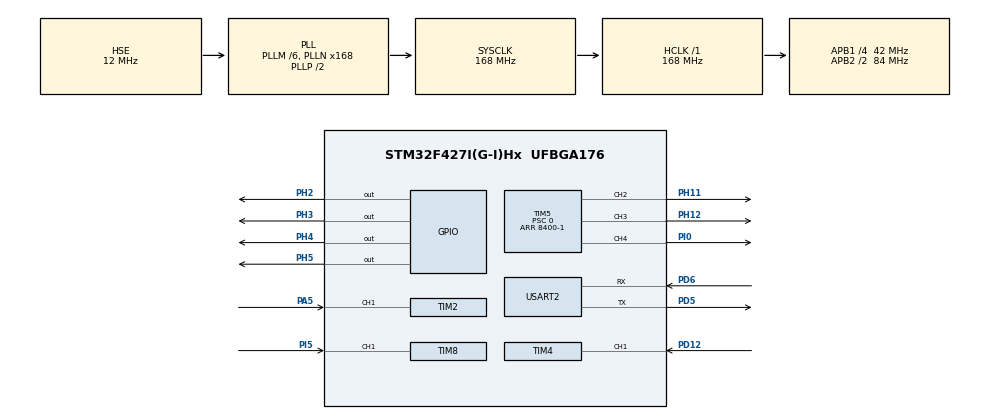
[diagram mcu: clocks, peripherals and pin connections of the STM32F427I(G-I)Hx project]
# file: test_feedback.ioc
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Dma.Request0=USART2_RX
Dma.Request1=USART2_TX
Dma.USART2_RX.0.Direction=DMA_PERIPH_TO_MEMORY
Dma.USART2_RX.0.FIFOMode=DMA_FIFOMODE_DISABLE
Dma.USART2_RX.0.Instance=DMA1_Stream5
Dma.USART2_RX.0.MemDataAlignment=DMA_MDATAALIGN_BYTE
Dma.USART2_RX.0.MemInc=DMA_MINC_ENABLE
Dma.USART2_RX.0.Mode=DMA_NORMAL
Dma.USART2_RX.0.PeriphDataAlignment=DMA_PDATAALIGN_BYTE
Dma.USART2_RX.0.PeriphInc=DMA_PINC_DISABLE
Dma.USART2_RX.0.Priority=DMA_PRIORITY_LOW
Dma.USART2_TX.1.Direction=DMA_MEMORY_TO_PERIPH
Dma.USART2_TX.1.FIFOMode=DMA_FIFOMODE_DISABLE
Dma.USART2_TX.1.Instance=DMA1_Stream6
Dma.USART2_TX.1.MemDataAlignment=DMA_MDATAALIGN_BYTE
Dma.USART2_TX.1.MemInc=DMA_MINC_ENABLE
Dma.USART2_TX.1.Mode=DMA_NORMAL
Dma.USART2_TX.1.PeriphDataAlignment=DMA_PDATAALIGN_BYTE
Dma.USART2_TX.1.PeriphInc=DMA_PINC_DISABLE
Dma.USART2_TX.1.Priority=DMA_PRIORITY_LOW
Mcu.Family=STM32F4
Mcu.Name=STM32F427I(G-I)Hx
Mcu.Package=UFBGA176
NVIC.DMA1_Stream5_IRQn=true\:0\:0\:false\:false\:true\:false\:true\:true
NVIC.DMA1_Stream6_IRQn=true\:0\:0\:false\:false\:true\:false\:true\:true
NVIC.PriorityGroup=NVIC_PRIORITYGROUP_4
NVIC.TIM2_IRQn=true\:0\:0\:false\:false\:true\:true\:true\:true
NVIC.TIM4_IRQn=true\:0\:0\:false\:false\:true\:true\:true\:true
NVIC.TIM8_BRK_TIM12_IRQn=true\:0\:0\:false\:false\:true\:true\:true\:true
NVIC.TIM8_CC_IRQn=true\:0\:0\:false\:false\:true\:true\:true\:true
NVIC.TIM8_TRG_COM_TIM14_IRQn=true\:0\:0\:false\:false\:true\:true\:true\:true
NVIC.TIM8_UP_TIM13_IRQn=true\:0\:0\:false\:false\:true\:true\:true\:true
NVIC.USART2_IRQn=true\:0\:0\:false\:false\:true\:true\:true\:true
PA13.Mode=Serial_Wire
PA13.Signal=SYS_JTMS-SWDIO
PA14.Mode=Serial_Wire
PA14.Signal=SYS_JTCK-SWCLK
PA5.Signal=S_TIM2_CH1_ETR
PB0.Signal=S_TIM3_CH3
PB1.Signal=S_TIM3_CH4
PD12.Signal=S_TIM4_CH1
PD5.Mode=Asynchronous
PD5.Signal=USART2_TX
PD6.Mode=Asynchronous
PD6.Signal=USART2_RX
PH0/OSC_IN.Mode=HSE-External-Oscillator
PH0/OSC_IN.Signal=RCC_OSC_IN
PH1/OSC_OUT.Mode=HSE-External-Oscillator
PH1/OSC_OUT.Signal=RCC_OSC_OUT
PH11.Signal=S_TIM5_CH2
PH12.Signal=S_TIM5_CH3
PH2.GPIO_PuPd=GPIO_PULLDOWN
PH2.Signal=GPIO_Output
PH3.GPIO_PuPd=GPIO_PULLDOWN
PH3.Signal=GPIO_Output
PH4.GPIO_PuPd=GPIO_PULLDOWN
PH4.Signal=GPIO_Output
PH5.GPIO_PuPd=GPIO_PULLDOWN
PH5.Signal=GPIO_Output
PI0.Signal=S_TIM5_CH4
PI5.Signal=S_TIM8_CH1
ProjectManager.HeapSize=0x200
ProjectManager.StackSize=0x400
ProjectManager.TargetToolchain=MDK-ARM V5.32
RCC.48MHZClocksFreq_Value=84000000
RCC.AHBFreq_Value=168000000
RCC.APB1CLKDivider=RCC_HCLK_DIV4
RCC.APB1Freq_Value=42000000
RCC.APB1TimFreq_Value=84000000
RCC.APB2CLKDivider=RCC_HCLK_DIV2
RCC.APB2Freq_Value=84000000
RCC.APB2TimFreq_Value=168000000
RCC.CortexFreq_Value=168000000
RCC.HCLKFreq_Value=168000000
RCC.HSE_VALUE=12000000
RCC.HSI_VALUE=16000000
RCC.LSE_VALUE=32768
RCC.PLLM=6
RCC.PLLN=168
RCC.PLLSourceVirtual=RCC_PLLSOURCE_HSE
RCC.SYSCLKFreq_VALUE=168000000
RCC.SYSCLKSource=RCC_SYSCLKSOURCE_PLLCLK
RCC.VCOOutputFreq_Value=336000000
SH.S_TIM2_CH1_ETR.0=TIM2_CH1,TriggerSource_TI1FP1
SH.S_TIM2_CH1_ETR.1=TIM2_CH1,Input_Capture1_from_TI1
SH.S_TIM3_CH3.0=TIM3_CH3
SH.S_TIM3_CH4.0=TIM3_CH4
SH.S_TIM4_CH1.0=TIM4_CH1,TriggerSource_TI1FP1
SH.S_TIM4_CH1.1=TIM4_CH1,Input_Capture1_from_TI1
SH.S_TIM5_CH2.0=TIM5_CH2,PWM Generation2 CH2
SH.S_TIM5_CH3.0=TIM5_CH3,PWM Generation3 CH3
SH.S_TIM5_CH4.0=TIM5_CH4,PWM Generation4 CH4
SH.S_TIM8_CH1.0=TIM8_CH1,TriggerSource_TI1FP1
SH.S_TIM8_CH1.1=TIM8_CH1,Input_Capture1_from_TI1
TIM2.Channel-Input_Capture1_from_TI1=TIM_CHANNEL_1
TIM2.Period=65535
TIM2.Prescaler=83
TIM4.Channel-Input_Capture1_from_TI1=TIM_CHANNEL_1
TIM4.Prescaler=83
TIM5.Channel-PWM\ Generation2\ CH2=TIM_CHANNEL_2
TIM5.Channel-PWM\ Generation3\ CH3=TIM_CHANNEL_3
TIM5.Channel-PWM\ Generation4\ CH4=TIM_CHANNEL_4
TIM5.Period=8400-1
TIM5.Prescaler=0
TIM8.Channel-Input_Capture1_from_TI1=TIM_CHANNEL_1
TIM8.Prescaler=167
USART2.VirtualMode=VM_ASYNC
VP_TIM2_VS_ClockSourceINT.Mode=Internal
VP_TIM2_VS_ControllerModeReset.Mode=Reset Mode
VP_TIM4_VS_ControllerModeReset.Mode=Reset Mode
VP_TIM5_VS_ClockSourceINT.Mode=Internal
VP_TIM8_VS_ClockSourceINT.Mode=Internal
VP_TIM8_VS_ControllerModeReset.Mode=Reset Mode
board=custom

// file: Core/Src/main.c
/* USER CODE BEGIN Header */
/**
 ******************************************************************************
 * @file           : main.c
 * @brief          : Main program body
 ******************************************************************************
 * @attention
 *
 * Copyright (c) 2023 STMicroelectronics.
 * All rights reserved.
 *
 * This software is licensed under terms that can be found in the LICENSE file
 * in the root directory of this software component.
 * If no LICENSE file comes with this software, it is provided AS-IS.
 *
 ******************************************************************************
 */
/* USER CODE END Header */
#include "main.h"
#include "dma.h"
#include "tim.h"
#include "usart.h"
#include "gpio.h"

/* USER CODE BEGIN Includes */

#include "dvc_serialplot.h"

#include "pid.h"
/* USER CODE END Includes */

/* USER CODE BEGIN PV */

Class_Serialplot serialplot;

float Tx_1, Tx_2, Tx_3, Tx_4;
float output_pid[3];
uint32_t freq1,freq2,freq3;
extern TIM_HandleTypeDef htim2;
extern TIM_HandleTypeDef htim4;
extern TIM_HandleTypeDef htim5;
extern TIM_HandleTypeDef htim8;

extern PID_typedef 			Motor_pid[14];

/* USER CODE END PV */

void SystemClock_Config(void);

int main(void)
{
  // 1. HAL库初始化，复位所有外设，初始化Flash接口和系统滴答定时器
  HAL_Init();

  // 2. 配置系统时钟
  SystemClock_Config();

  // 3. 初始化所有外设（GPIO、DMA、串口、定时器等）
  MX_GPIO_Init();
  MX_DMA_Init();
  MX_USART2_UART_Init();
  MX_TIM2_Init();
  MX_TIM5_Init();
  MX_TIM4_Init();
  MX_TIM8_Init();

  // 4. PID参数初始化
  PID_total_init();

  // 5. 初始化并启动PWM输出（用于电机控制）
  HAL_TIM_PWM_Init(&htim5);
  Uart_Init(&huart2, NULL, 0, NULL); // 串口初始化
  HAL_TIM_PWM_Start(&htim5, TIM_CHANNEL_4); // 电机3
  HAL_TIM_PWM_Start(&htim5, TIM_CHANNEL_2); // 电机1
  HAL_TIM_PWM_Start(&htim5, TIM_CHANNEL_3); // 电机2

  // 6. 启动输入捕获中断（用于测速）
  HAL_TIM_IC_Start_IT(&htim2, TIM_CHANNEL_1); // 电机1测速
  HAL_TIM_IC_Start_IT(&htim4, TIM_CHANNEL_1); // 电机2测速
  HAL_TIM_IC_Start_IT(&htim8, TIM_CHANNEL_1); // 电机3测速

  // 7. 串口绘图工具初始化
  serialplot.Init(&huart2, 0, NULL);

  // ================== 主循环 ==================
  while (1)
  {
    // 1. 计算三个电机的转速（单位：RPM）
    // freqX为输入捕获得到的频率，48为编码器每转脉冲数，*60为每分钟
    Tx_1 = freq1 / 48 * 60;
    Tx_2 = freq2 / 48 * 60;
    Tx_3 = freq3 / 48 * 60;

    // 2. PID闭环调速，目标转速为600RPM
    output_pid[0] = PID_calc(&Motor_pid[0], Tx_1, 600); // 电机1
    output_pid[1] = PID_calc(&Motor_pid[1], Tx_2, 600); // 电机2
    output_pid[2] = PID_calc(&Motor_pid[2], Tx_3, 600); // 电机3

    // 3. 限幅，防止PWM输出超出范围
    if (output_pid[0] < 0) output_pid[0] = 0;
    if (output_pid[0] > __HAL_TIM_GET_AUTORELOAD(&htim5)) output_pid[0] = __HAL_TIM_GET_AUTORELOAD(&htim5);
    if (output_pid[1] < 0) output_pid[1] = 0;
    if (output_pid[1] > __HAL_TIM_GET_AUTORELOAD(&htim5)) output_pid[1] = __HAL_TIM_GET_AUTORELOAD(&htim5);
    if (output_pid[2] < 0) output_pid[2] = 0;
    if (output_pid[2] > __HAL_TIM_GET_AUTORELOAD(&htim5)) output_pid[2] = __HAL_TIM_GET_AUTORELOAD(&htim5);

    // 4. 设置PWM占空比，实现对电机的速度控制
    __HAL_TIM_SET_COMPARE(&htim5, TIM_CHANNEL_2, (uint32_t)output_pid[0]); // 电机1
    __HAL_TIM_SET_COMPARE(&htim5, TIM_CHANNEL_3, (uint32_t)output_pid[1]); // 电机2
    __HAL_TIM_SET_COMPARE(&htim5, TIM_CHANNEL_4, (uint32_t)output_pid[2]); // 电机3

    // 5. 发送数据到上位机，便于调试和监控
    serialplot.Set_Data(3, &Tx_1, &Tx_2, &Tx_3); // 发送三路转速数据
    serialplot.TIM_Add_PeriodElapsedCallback();   // 绘图定时回调
    TIM_UART_PeriodElapsedCallback();             // 串口定时回调

    // 6. 延时10ms，控制主循环频率
    HAL_Delay(10);
  }
}

void SystemClock_Config(void)
{
  RCC_OscInitTypeDef RCC_OscInitStruct = {0};
  RCC_ClkInitTypeDef RCC_ClkInitStruct = {0};

  /** Configure the main internal regulator output voltage
  */
  __HAL_RCC_PWR_CLK_ENABLE();
  __HAL_PWR_VOLTAGESCALING_CONFIG(PWR_REGULATOR_VOLTAGE_SCALE1);

  /** Initializes the RCC Oscillators according to the specified parameters
  * in the RCC_OscInitTypeDef structure.
  */
  RCC_OscInitStruct.OscillatorType = RCC_OSCILLATORTYPE_HSE;
  RCC_OscInitStruct.HSEState = RCC_HSE_ON;
  RCC_OscInitStruct.PLL.PLLState = RCC_PLL_ON;
  RCC_OscInitStruct.PLL.PLLSource = RCC_PLLSOURCE_HSE;
  RCC_OscInitStruct.PLL.PLLM = 6;
  RCC_OscInitStruct.PLL.PLLN = 168;
  RCC_OscInitStruct.PLL.PLLP = RCC_PLLP_DIV2;
  RCC_OscInitStruct.PLL.PLLQ = 4;
  if (HAL_RCC_OscConfig(&RCC_OscInitStruct) != HAL_OK)
  {
    Error_Handler();
  }

  /** Initializes the CPU, AHB and APB buses clocks
  */
  RCC_ClkInitStruct.ClockType = RCC_CLOCKTYPE_HCLK|RCC_CLOCKTYPE_SYSCLK
                              |RCC_CLOCKTYPE_PCLK1|RCC_CLOCKTYPE_PCLK2;
  RCC_ClkInitStruct.SYSCLKSource = RCC_SYSCLKSOURCE_PLLCLK;
  RCC_ClkInitStruct.AHBCLKDivider = RCC_SYSCLK_DIV1;
  RCC_ClkInitStruct.APB1CLKDivider = RCC_HCLK_DIV4;
  RCC_ClkInitStruct.APB2CLKDivider = RCC_HCLK_DIV2;

  if (HAL_RCC_ClockConfig(&RCC_ClkInitStruct, FLASH_LATENCY_5) != HAL_OK)
  {
    Error_Handler();
  }
}

/* USER CODE BEGIN 4 */
/**
  * @brief 定时器输入捕获中断回调函数
  * @param htim: 定时器句柄
  * @note  用于测量输入信号周期，计算频率
  */
uint32_t current_capture = 0; // 当前捕获值
void HAL_TIM_IC_CaptureCallback(TIM_HandleTypeDef *htim)
{
    // 电机1测速（TIM2）
    if (htim->Instance == TIM2)
    {
        if (htim->Channel == HAL_TIM_ACTIVE_CHANNEL_1)
        {
            uint32_t before_capture = current_capture;
            uint32_t current_capture = HAL_TIM_ReadCapturedValue(htim, TIM_CHANNEL_1) + 1;
            if (current_capture < before_capture) {
                current_capture += 65535; // 处理溢出
            }
            freq1 = 1000000 / (current_capture - before_capture); // 计算频率
        }
    }
    // 电机2测速（TIM4）
    else if (htim->Instance == TIM4)
    {
        if (htim->Channel == HAL_TIM_ACTIVE_CHANNEL_1)
        {
            uint32_t before_capture = current_capture;
            uint32_t current_capture = HAL_TIM_ReadCapturedValue(htim, TIM_CHANNEL_1) + 1;
            if (current_capture < before_capture) {
                current_capture += 65535; // 处理溢出
            }
            freq2 = 1000000 / (current_capture - before_capture);
        }
    }
    // 电机3测速（TIM8）
    else if (htim->Instance == TIM8)
    {
        if (htim->Channel == HAL_TIM_ACTIVE_CHANNEL_1)
        {
            uint32_t before_capture = current_capture;
            uint32_t current_capture = HAL_TIM_ReadCapturedValue(htim, TIM_CHANNEL_1) + 1;
            if (current_capture < before_capture) {
                current_capture += 65535; // 处理溢出
            }
            freq3 = 1000000 / (current_capture - before_capture);
        }
    }
}
/* USER CODE END 4 */

void Error_Handler(void)
{
    __disable_irq();
    while (1)
    {
    }
}
